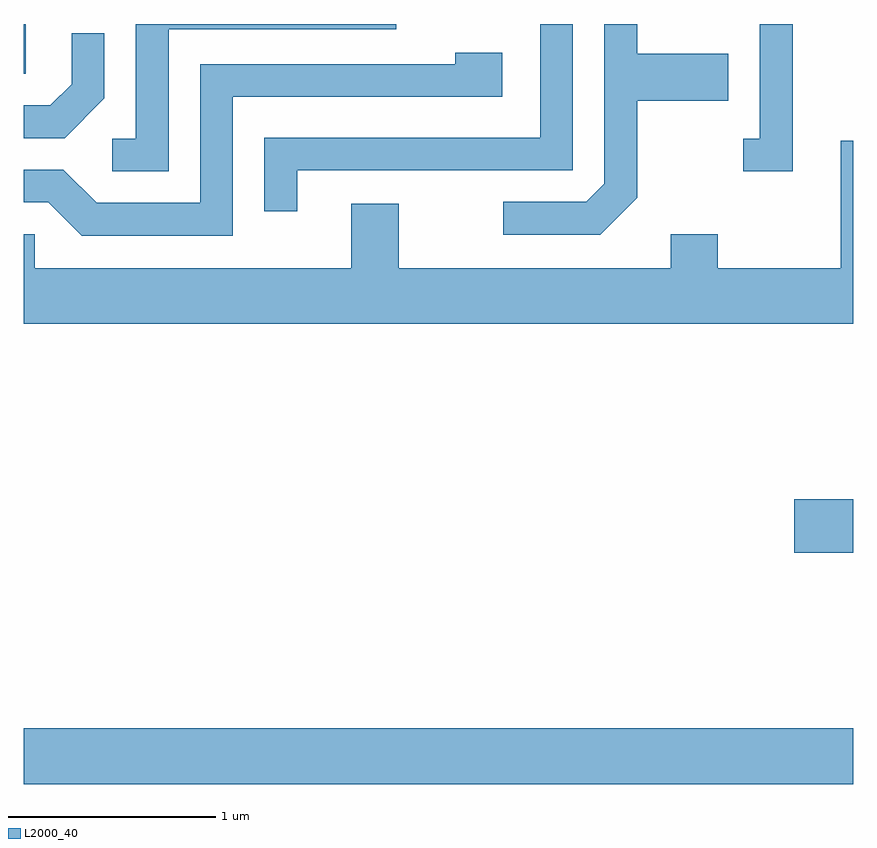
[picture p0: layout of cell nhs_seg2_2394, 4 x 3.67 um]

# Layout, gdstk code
import gdstk
lib = gdstk.Library(unit=1e-6, precision=1e-09)
def R(c, l, rs):  # rectangles x0, y0, x1, y1
    for r in rs: c.add(gdstk.rectangle(r[:2], r[2:], *l))
def P(c, l, *ps):  # polygons
    for p in ps: c.add(gdstk.Polygon(p, *l))
L2000_40 = (2000, 40)

nhs_seg2_2394 = lib.new_cell('nhs_seg2_2394')
R(nhs_seg2_2394, L2000_40, [(255.611,1006.136,259.611,1006.404), (259.326,1007.251,259.611,1007.509), (255.611,1009.561,255.619,1009.802)])
P(nhs_seg2_2394, L2000_40, [(256.309,1009.776),(257.408,1009.776),(257.408,1009.802),(256.151,1009.802),(256.151,1009.249),(256.038,1009.249),(256.038,1009.091),(256.309,1009.091)],
  [(258.569,1008.964),(258.569,1009.431),(259.009,1009.431),(259.009,1009.659),(258.569,1009.659),(258.569,1009.802),(258.411,1009.802),(258.411,1009.032),(258.324,1008.944),(257.923,1008.944),(257.923,1008.786),(258.392,1008.786)],
  [(259.319,1009.802),(259.161,1009.802),(259.161,1009.249),(259.082,1009.249),(259.082,1009.091),(259.319,1009.091)],
  [(256.929,1009.096),(258.259,1009.096),(258.259,1009.802),(258.101,1009.802),(258.101,1009.254),(256.771,1009.254),(256.771,1008.898),(256.929,1008.898)],
  [(255.999,1009.444),(255.999,1009.758),(255.841,1009.758),(255.841,1009.512),(255.739,1009.409),(255.611,1009.409),(255.611,1009.251),(255.807,1009.251)],
  [(256.619,1009.451),(257.919,1009.451),(257.919,1009.664),(257.691,1009.664),(257.691,1009.609),(256.461,1009.609),(256.461,1008.939),(255.962,1008.939),(255.802,1009.099),(255.611,1009.099),(255.611,1008.941),(255.729,1008.941),(255.889,1008.781),(256.619,1008.781)],
  [(259.611,1009.239),(259.551,1009.239),(259.551,1008.624),(258.959,1008.624),(258.959,1008.789),(258.731,1008.789),(258.731,1008.624),(257.419,1008.624),(257.419,1008.934),(257.191,1008.934),(257.191,1008.624),(255.664,1008.624),(255.664,1008.789),(255.611,1008.789),(255.611,1008.356),(259.611,1008.356)])

lib.write_gds('nhs_seg2_2394.gds')
